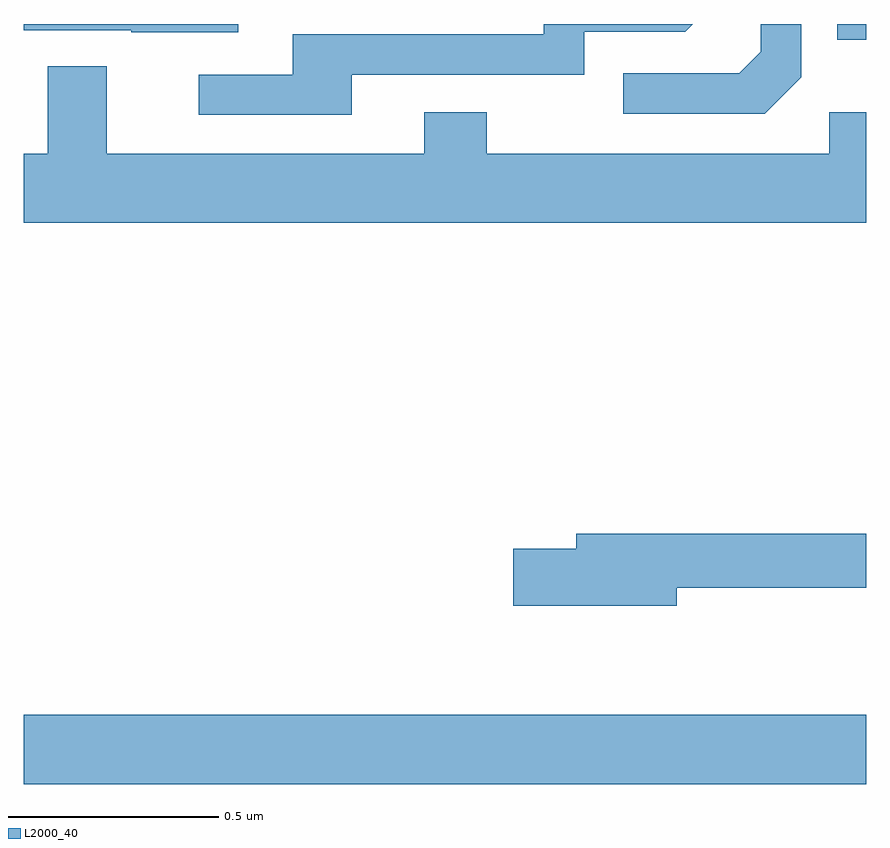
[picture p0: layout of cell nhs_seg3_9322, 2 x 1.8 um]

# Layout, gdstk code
import gdstk
lib = gdstk.Library(unit=1e-6, precision=1e-09)
def R(c, l, rs):  # rectangles x0, y0, x1, y1
    for r in rs: c.add(gdstk.rectangle(r[:2], r[2:], *l))
def P(c, l, *ps):  # polygons
    for p in ps: c.add(gdstk.Polygon(p, *l))
L2000_40 = (2000, 40)

nhs_seg3_9322 = lib.new_cell('nhs_seg3_9322')
R(nhs_seg3_9322, L2000_40, [(227,687.596,229,687.76), (228.931,689.363,229,689.4)])
P(nhs_seg3_9322, L2000_40, [(227.779,689.28),(228.33,689.28),(228.33,689.382),(228.57,689.382),(228.588,689.4),(228.234,689.4),(228.234,689.376),(227.639,689.376),(227.639,689.28),(227.415,689.28),(227.415,689.184),(227.779,689.184)],
  [(228.846,689.274),(228.846,689.4),(228.75,689.4),(228.75,689.334),(228.699,689.283),(228.423,689.283),(228.423,689.187),(228.759,689.187)],
  [(227.509,689.4),(227,689.4),(227,689.385),(227.255,689.385),(227.255,689.381),(227.509,689.381)],
  [(229,689.191),(228.912,689.191),(228.912,689.092),(228.099,689.092),(228.099,689.191),(227.951,689.191),(227.951,689.092),(227.197,689.092),(227.197,689.3),(227.057,689.3),(227.057,689.092),(227,689.092),(227,688.928),(229,688.928)],
  [(228.55,688.062),(229,688.062),(229,688.19),(228.311,688.19),(228.311,688.154),(228.162,688.154),(228.162,688.019),(228.55,688.019)])

lib.write_gds('nhs_seg3_9322.gds')
